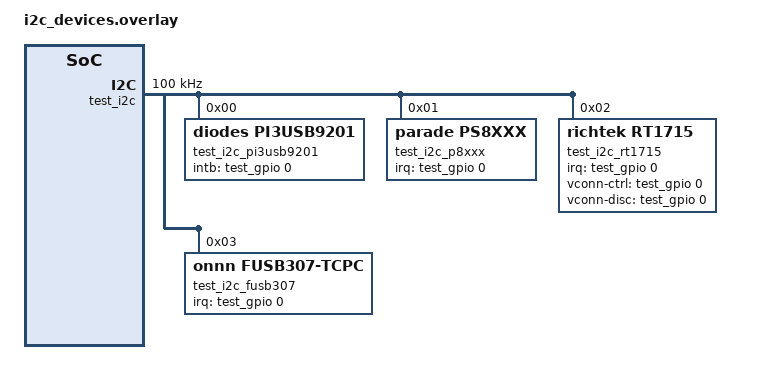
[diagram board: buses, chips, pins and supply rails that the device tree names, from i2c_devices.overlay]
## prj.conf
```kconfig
CONFIG_TEST=y
CONFIG_TEST_USERSPACE=y
CONFIG_USB_BC12=y
CONFIG_UDC_DRIVER=y
CONFIG_UHC_DRIVER=y
CONFIG_GPIO=y
CONFIG_USBC_TCPC_DRIVER=y
```

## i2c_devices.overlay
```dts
/*
 * Copyright (c) 2024 TOKITA Hiroshi
 * SPDX-License-Identifier: Apache-2.0
 */

/ {
	test {
		#address-cells = <1>;
		#size-cells = <1>;

		test_i2c: i2c@11112222 {
			compatible = "vnd,i2c";
			reg = <0x11112222 0x1000>;
			#address-cells = <1>;
			#size-cells = <0>;
			clock-frequency = <100000>;
			status = "okay";

			test_i2c_pi3usb9201: pi3usb9201@0 {
				compatible = "diodes,pi3usb9201";
				reg = <0x0>;
				charging-mode = "BC12_TYPE_NONE";
				intb-gpios = <&test_gpio 0 0>;
			};

			test_i2c_p8xxx: p8xxx@1 {
				compatible = "parade,ps8xxx";
				reg = <1>;
				irq-gpios = <&test_gpio 0 0>;
			};

			test_i2c_rt1715: rt1715@2 {
				compatible = "richtek,rt1715";
				reg = <2>;
				irq-gpios = <&test_gpio 0 0>;
				vconn-ctrl-gpios = <&test_gpio 0 0>;
				vconn-disc-gpios = <&test_gpio 0 0>;
			};

			test_i2c_fusb307: fusb307@3 {
				compatible = "onnn,fusb307-tcpc";
				reg = <3>;
				irq-gpios = <&test_gpio 0 0>;

				fusb307_vbus: fusb307_vbus {
					compatible = "zephyr,usb-c-vbus-tcpci";
				};
			};
		};

		test_gpio: gpio@deadbeef {
			compatible = "vnd,gpio";
			reg = <0xdeadbeef 0x1000>;
			gpio-controller;
			#gpio-cells = <0x2>;
			status = "okay";
		};
	};
};
```

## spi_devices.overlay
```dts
/*
 * Copyright (c) 2024 TOKITA Hiroshi
 * SPDX-License-Identifier: Apache-2.0
 */

/ {
	test {
		#address-cells = <1>;
		#size-cells = <1>;

		test_gpio: gpio@deadbeef {
			compatible = "vnd,gpio";
			reg = <0xdeadbeef 0x1000>;
			gpio-controller;
			#gpio-cells = <0x2>;
			status = "okay";
		};

		test_spi: spi@33334444 {
			compatible = "vnd,spi";
			reg = <0x33334444 0x1000>;
			#address-cells = <1>;
			#size-cells = <0>;
			clock-frequency = <2000000>;

			/* one entry for every devices at spi.dtsi */
			cs-gpios = <&test_gpio 0 0>,
				   <&test_gpio 0 0>,
				   <&test_gpio 0 0>,
				   <&test_gpio 0 0>,
				   <&test_gpio 0 0>;
			status = "okay";

			max3421e_spi: max3421e_spi@0 {
				compatible = "maxim,max3421e-spi";
				reg = <0>;
				spi-max-frequency = <5000000>;
				int-gpios = <&test_gpio 0 0>;
				status = "okay";
			};
		};
	};
};
```

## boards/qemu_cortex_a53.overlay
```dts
/*
 * SPDX-FileCopyrightText: Copyright The Zephyr Project Contributors
 * SPDX-License-Identifier: Apache-2.0
 */

/* This is only a placeholder, will be removed once this PR matured */

/ {
	zephyr_udc0: usb@b0000000 {
		compatible = "snps,dwc3";
		reg = <0x0 0xb0000000 0x0 0x1000000>;
		reg-names = "base";
		maximum-speed = "high-speed";
		interrupt-parent = <&gic>;
		interrupts = <GIC_SPI 42 IRQ_TYPE_LEVEL IRQ_DEFAULT_PRIORITY>;
		num-bidir-endpoints = <16>;
		num-in-endpoints = <8>;
		num-out-endpoints = <8>;
	};
};
```

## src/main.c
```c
/*
 * Copyright © 2024 TOKITA Hiroshi
 *
 * SPDX-License-Identifier: Apache-2.0
 */

int main(void)
{
	return 0;
}
```
